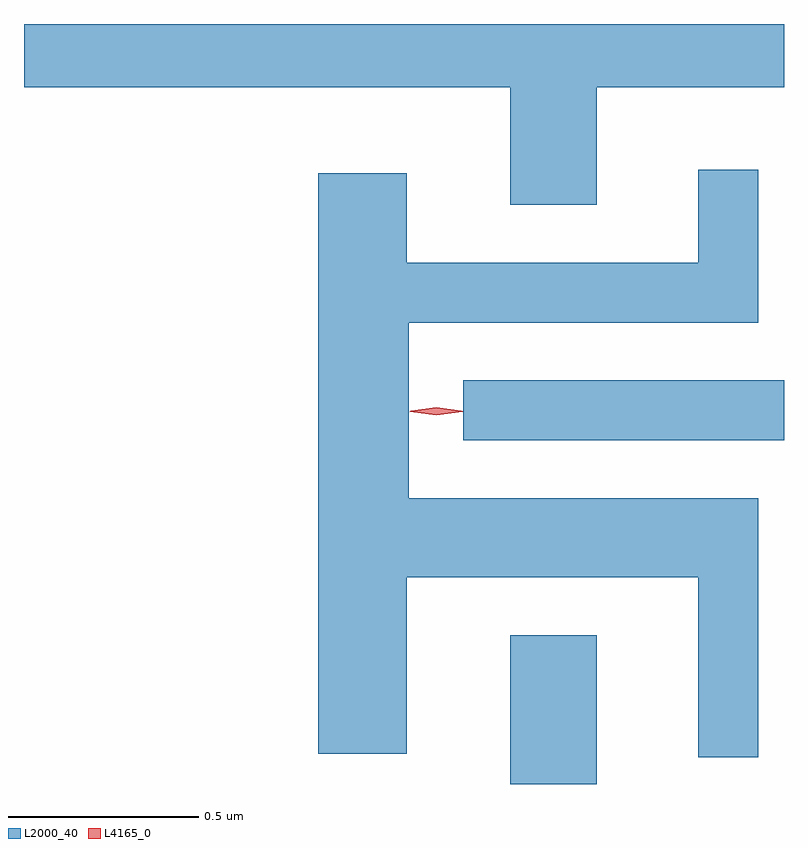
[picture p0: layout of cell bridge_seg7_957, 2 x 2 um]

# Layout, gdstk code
import gdstk
lib = gdstk.Library(unit=1e-6, precision=1e-09)
def R(c, l, rs):  # rectangles x0, y0, x1, y1
    for r in rs: c.add(gdstk.rectangle(r[:2], r[2:], *l))
def P(c, l, *ps):  # polygons
    for p in ps: c.add(gdstk.Polygon(p, *l))
L2000_40 = (2000, 40)
L4165_0 = (4165, 0)

bridge_seg7_957 = lib.new_cell('bridge_seg7_957')
R(bridge_seg7_957, L2000_40, [(562.861,1701.382,563.089,1701.774), (562.738,1702.286,563.582,1702.444)])
P(bridge_seg7_957, L2000_40, [(563.089,1703.216),(563.582,1703.216),(563.582,1703.382),(561.582,1703.382),(561.582,1703.216),(562.861,1703.216),(562.861,1702.906),(563.089,1702.906)],
  [(563.514,1702.134),(562.594,1702.134),(562.594,1702.596),(563.514,1702.596),(563.514,1702.998),(563.356,1702.998),(563.356,1702.754),(562.589,1702.754),(562.589,1702.989),(562.356,1702.989),(562.356,1701.461),(562.589,1701.461),(562.589,1701.926),(563.356,1701.926),(563.356,1701.453),(563.514,1701.453)])
P(bridge_seg7_957, L4165_0, [(562.667,1702.352),(562.598,1702.362),(562.597,1702.362),(562.598,1702.363),(562.667,1702.372),(562.736,1702.363),(562.736,1702.362),(562.736,1702.362)],
  [(562.667,1702.354),(562.601,1702.363),(562.6,1702.364),(562.601,1702.364),(562.667,1702.374),(562.732,1702.364),(562.733,1702.364),(562.732,1702.363)])

lib.write_gds('bridge_seg7_957.gds')
